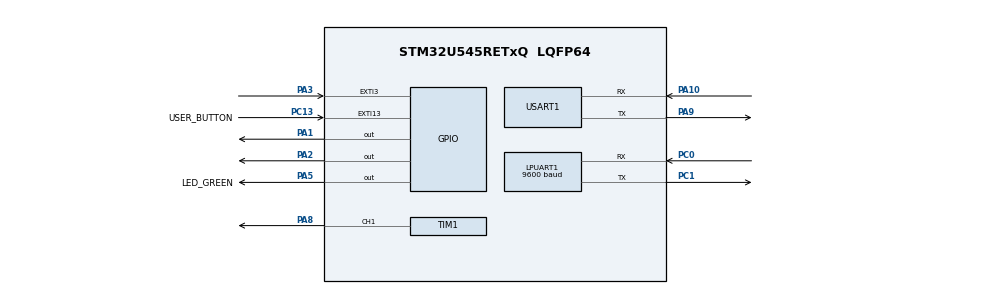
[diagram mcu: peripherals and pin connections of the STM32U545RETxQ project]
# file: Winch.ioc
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CORTEX_M33_NS.userName=CORTEX_M33
LPUART1.BaudRate=9600
Mcu.Family=STM32U5
Mcu.Name=STM32U545RETxQ
Mcu.Package=LQFP64
NVIC.LPUART1_IRQn=true\:0\:0\:false\:false\:true\:true\:true\:true
NVIC.PriorityGroup=NVIC_PRIORITYGROUP_4
NVIC.USART1_IRQn=true\:0\:0\:false\:false\:true\:true\:true\:true
PA1.Signal=GPIO_Output
PA10.Mode=Asynchronous
PA10.Signal=USART1_RX
PA13\ (JTMS/SWDIO).Mode=Serial_Wire
PA13\ (JTMS/SWDIO).Signal=DEBUG_JTMS-SWDIO
PA14\ (JTCK/SWCLK).Mode=Serial_Wire
PA14\ (JTCK/SWCLK).Signal=DEBUG_JTCK-SWCLK
PA2.Signal=GPIO_Output
PA3.GPIO_ModeDefaultEXTI=GPIO_MODE_IT_FALLING
PA3.GPIO_PuPd=GPIO_PULLUP
PA3.Signal=GPXTI3
PA5.GPIO_Label=LED_GREEN
PA5.GPIO_PuPd=GPIO_PULLUP
PA5.GPIO_Speed=GPIO_SPEED_FREQ_HIGH
PA5.Signal=GPIO_Output
PA8.Signal=S_TIM1_CH1
PA9.Mode=Asynchronous
PA9.Signal=USART1_TX
PC0.Mode=Asynchronous
PC0.Signal=LPUART1_RX
PC1.Mode=Asynchronous
PC1.Signal=LPUART1_TX
PC13.GPIO_Label=USER_BUTTON
PC13.GPIO_ModeDefaultEXTI=GPIO_MODE_IT_FALLING
PC13.GPIO_PuPd=GPIO_PULLDOWN
PC13.Signal=GPXTI13
PWR.PowerMode=PWR_LDO_SUPPLY
ProjectManager.HeapSize=0x200
ProjectManager.StackSize=0x400
ProjectManager.TargetToolchain=STM32CubeIDE
RCC.ADCFreq_Value=16000000
RCC.DACCLockSelectionVirtual=RCC_DAC1CLKSOURCE_LSI
RCC.DACCLockSelectionVirtualString=RCC_DAC1CLKSOURCE_LSI
RCC.EPOD_VALUE=4000000
RCC.HSE_VALUE=16000000
RCC.HSI48_VALUE=48000000
RCC.HSI_VALUE=16000000
RCC.LSE_VALUE=32768
RCC.LSIDIV_VALUE=32000
RCC.MSI_VALUE=4000000
RCC.USBFreq_Value=48000000
RCC.VCOOutputFreq_Value=516000000
SH.S_TIM1_CH1.0=TIM1_CH1,PWM Generation1 CH1
TIM1.Channel-PWM\ Generation1\ CH1=TIM_CHANNEL_1
TIM1.PeriodNoDither=19999
TIM1.Prescaler=3
TIM1.PulseNoDither_1=1000
USART1.VirtualMode-Asynchronous=VM_ASYNC
VP_ICACHE_VS_ICACHE.Mode=DirectMappedCache
VP_LPBAMQUEUE_VS_QUEUE.Mode=QUEUEMODE
VP_LPBAM_VS_SIG1.Mode=SmartRun
VP_LPBAM_VS_SIG4.Mode=LPDMA1
VP_MEMORYMAP_VS_MEMORYMAP.Mode=CurAppReg
VP_NUCLEO-U545RE-Q_VS_BSP_COMMON.Mode=COMMON
VP_PWR_VS_LPOM.Mode=PowerOptimisation
VP_PWR_VS_SECSignals.Mode=Security/Privilege
VP_TIM1_VS_ClockSourceINT.Mode=Internal
board=NUCLEO-U545RE-Q

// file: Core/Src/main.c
/* USER CODE BEGIN Header */
/**
 ******************************************************************************
 * @file           : main.c
 * @brief          : Main program body
 ******************************************************************************
 * @attention
 *
 * Copyright (c) 2025 STMicroelectronics.
 * All rights reserved.
 *
 * This software is licensed under terms that can be found in the LICENSE file
 * in the root directory of this software component.
 * If no LICENSE file comes with this software, it is provided AS-IS.
 *
 ******************************************************************************
 */
/* USER CODE END Header */
#include "main.h"

/* USER CODE BEGIN Includes */
#include <string.h>
/* USER CODE END Includes */

/* USER CODE BEGIN PD */
#define RX_BUFFER_SIZE 16
#define PWM_NEUTRAL 1500   // freewheel, no torque
#define PWM_ACCEL_UP 1650
#define PWM_DECEL_DOWN 1450
#define PWM_HOLD 1500
#define PWM_DECEL_UP 1600   // strongest braking / holding torque
#define PWM_ACCEL_DOWN 1400   // strongest braking / holding torque
/* USER CODE END PD */

/* USER CODE BEGIN PM */
typedef enum {
    IDLE,
    DOWN_FREE_FALL,
    DOWN_CONTROL,
	DOWN_CONSTANT,
    DOWN_HOLD,
    PAYLOAD_DROP,
    UP_ACCEL,
    UP_DECEL,
    UP_HOLD
} SystemState;

volatile SystemState current_state = IDLE;

/* USER CODE END PM */

UART_HandleTypeDef hlpuart1;
UART_HandleTypeDef huart1;

TIM_HandleTypeDef htim1;

/* USER CODE BEGIN PV */
uint8_t rx_buffer[RX_BUFFER_SIZE];
uint8_t rx_index = 0;

// ESC PWM range
uint16_t neutral_pwm_us     = 1500;
uint16_t forward_min_pwm_us = 1600;
uint16_t forward_max_pwm_us = 2000;
uint16_t reverse_min_pwm_us = 1400;
uint16_t reverse_max_pwm_us = 1000;

uint16_t global_pwm_us = 1500;  // current PWM signal (neutral)

int accel_steps = 100;
int decel_steps = 100;
uint8_t stopped = 1;
uint8_t direction = 0; // TODO: FIGURE OUT IF THIS IS CW OR CCW
uint8_t should_decel = 0;
uint8_t should_accel = 0;
uint8_t dropping = 0;

uint8_t ch;
uint8_t xb[3];
/* USER CODE END PV */

void SystemClock_Config(void);
static void SystemPower_Config(void);
static void MX_GPIO_Init(void);
static void MX_ICACHE_Init(void);
static void MX_TIM1_Init(void);
static void MX_USART1_UART_Init(void);
static void MX_LPUART1_UART_Init(void);

/* USER CODE BEGIN 0 */
/* === Brushless ESC Control === */
void setThrottle_us(uint16_t us)
{
    if (us < 1000) us = 1000;
    if (us > 2000) us = 2000;
    __HAL_TIM_SET_COMPARE(&htim1, TIM_CHANNEL_1, us);
}

/* Stop motor (neutral) */
void stop_motor(void)
{
	stopped = 1;
    setThrottle_us(1500);
}

/* Accelerate smoothly toward a target throttle (depends on direction) */
void accelerate_to_max(uint8_t direction, uint16_t start_us,
                       uint16_t target_us, int accel_steps)
{
    float pulse = start_us;
    float step_change = ((float)target_us - (float)start_us) / accel_steps;

    stopped = 0;
    for (int i = 0; i < accel_steps; i++) {
        if (stopped) return;  // Abort if stop command issued
        setThrottle_us((uint16_t)pulse);
        HAL_Delay(20); // ~50 Hz update rate
        pulse += step_change;
    }
    global_pwm_us = (uint16_t)pulse;
}

/* Decelerate smoothly toward min speed (depends on direction) */
void decelerate_to_min(uint8_t direction, uint16_t start_us,
                       uint16_t target_us, int decel_steps)
{
    float pulse = start_us;
    float step_change = ((float)target_us - (float)start_us) / decel_steps;

    for (int i = 0; i < decel_steps; i++) {
        if (stopped) return;
        setThrottle_us((uint16_t)pulse);
        HAL_Delay(20);
        pulse += step_change;
    }
    global_pwm_us = (uint16_t)pulse;
}

// No motor torque → gravity pulls the load down freely
void pwm_free_fall() {
    setThrottle_us(PWM_ACCEL_DOWN);
}

// Medium upward torque → brake the descent (slows the fall quickly)
void pwm_descent_brake() {
    setThrottle_us(PWM_DECEL_DOWN);
}

void pwm_ascent_brake() {
    setThrottle_us(PWM_DECEL_UP);
}

// Strong upward torque → hold the payload at a fixed height
void pwm_hold() {
    setThrottle_us(PWM_HOLD);
}

// Very strong upward torque → lift the payload back up
void pwm_up_fast() {
    setThrottle_us(PWM_ACCEL_UP);
}

/* USER CODE END 0 */

int main(void)
{

  /* MCU Configuration--------------------------------------------------------*/

  /* Reset of all peripherals, Initializes the Flash interface and the Systick. */
  HAL_Init();

  /* Configure the System Power */
  SystemPower_Config();

  /* Configure the system clock */
  SystemClock_Config();

  /* Initialize all configured peripherals */
  MX_GPIO_Init();
  MX_ICACHE_Init();
  MX_TIM1_Init();
  MX_USART1_UART_Init();
  MX_LPUART1_UART_Init();
  /* USER CODE BEGIN 2 */
	HAL_TIM_PWM_Start(&htim1, TIM_CHANNEL_1); // Start PWM on PA8 (TIM1_CH1)
	__HAL_TIM_SET_COMPARE(&htim1, TIM_CHANNEL_1, 1500);
	HAL_Delay(2000);  // Wait 2s for ESC to arm
	HAL_TIM_Base_Start(&htim1);
	HAL_UART_Receive_IT(&huart1, &ch, 1);
	HAL_UART_Receive_IT(&hlpuart1, xb, 3);
  /* USER CODE END 2 */

  /* Infinite loop */
  /* USER CODE BEGIN WHILE */
	while (1) {
		switch (current_state) {

			case IDLE:
				stop_motor();
				break;

			case DOWN_FREE_FALL:
				// TODO: open pawl & ratchet
				pwm_free_fall();
				break;

			case DOWN_CONTROL:
				pwm_descent_brake();
				break;

			case PAYLOAD_DROP:
				// TODO: activate servo logic here (close pawl & ratchet + payload drop)
				HAL_Delay(2000);
				// after payload release:
				current_state = UP_ACCEL;
				break;

			case UP_ACCEL:
				pwm_up_fast();  // or ramp via your existing function
				break;

			case UP_DECEL:
				pwm_ascent_brake(); // braking upward = reverse torque
				break;

			case UP_HOLD:
				stop_motor(); // pawl & ratchet will block
				break;
		}

		HAL_Delay(10); // small loop delay

    /* USER CODE END WHILE */

	}
}

void SystemClock_Config(void)
{
  RCC_OscInitTypeDef RCC_OscInitStruct = {0};
  RCC_ClkInitTypeDef RCC_ClkInitStruct = {0};

  /** Configure the main internal regulator output voltage
  */
  if (HAL_PWREx_ControlVoltageScaling(PWR_REGULATOR_VOLTAGE_SCALE4) != HAL_OK)
  {
    Error_Handler();
  }

  /** Initializes the CPU, AHB and APB buses clocks
  */
  RCC_OscInitStruct.OscillatorType = RCC_OSCILLATORTYPE_MSI;
  RCC_OscInitStruct.MSIState = RCC_MSI_ON;
  RCC_OscInitStruct.MSICalibrationValue = RCC_MSICALIBRATION_DEFAULT;
  RCC_OscInitStruct.MSIClockRange = RCC_MSIRANGE_4;
  RCC_OscInitStruct.PLL.PLLState = RCC_PLL_NONE;
  if (HAL_RCC_OscConfig(&RCC_OscInitStruct) != HAL_OK)
  {
    Error_Handler();
  }

  /** Initializes the CPU, AHB and APB buses clocks
  */
  RCC_ClkInitStruct.ClockType = RCC_CLOCKTYPE_HCLK|RCC_CLOCKTYPE_SYSCLK
                              |RCC_CLOCKTYPE_PCLK1|RCC_CLOCKTYPE_PCLK2
                              |RCC_CLOCKTYPE_PCLK3;
  RCC_ClkInitStruct.SYSCLKSource = RCC_SYSCLKSOURCE_MSI;
  RCC_ClkInitStruct.AHBCLKDivider = RCC_SYSCLK_DIV1;
  RCC_ClkInitStruct.APB1CLKDivider = RCC_HCLK_DIV1;
  RCC_ClkInitStruct.APB2CLKDivider = RCC_HCLK_DIV1;
  RCC_ClkInitStruct.APB3CLKDivider = RCC_HCLK_DIV1;

  if (HAL_RCC_ClockConfig(&RCC_ClkInitStruct, FLASH_LATENCY_0) != HAL_OK)
  {
    Error_Handler();
  }
}

/**
  * @brief Power Configuration
  * @retval None
  */
static void SystemPower_Config(void)
{

  /*
   * Switch to SMPS regulator instead of LDO
   */
  if (HAL_PWREx_ConfigSupply(PWR_SMPS_SUPPLY) != HAL_OK)
  {
    Error_Handler();
  }
}

static void MX_ICACHE_Init(void)
{

  /** Enable instruction cache in 1-way (direct mapped cache)
  */
  if (HAL_ICACHE_ConfigAssociativityMode(ICACHE_1WAY) != HAL_OK)
  {
    Error_Handler();
  }
  if (HAL_ICACHE_Enable() != HAL_OK)
  {
    Error_Handler();
  }

}

static void MX_LPUART1_UART_Init(void)
{

  hlpuart1.Instance = LPUART1;
  hlpuart1.Init.BaudRate = 9600;
  hlpuart1.Init.WordLength = UART_WORDLENGTH_8B;
  hlpuart1.Init.StopBits = UART_STOPBITS_1;
  hlpuart1.Init.Parity = UART_PARITY_NONE;
  hlpuart1.Init.Mode = UART_MODE_TX_RX;
  hlpuart1.Init.HwFlowCtl = UART_HWCONTROL_NONE;
  hlpuart1.Init.OneBitSampling = UART_ONE_BIT_SAMPLE_DISABLE;
  hlpuart1.AdvancedInit.AdvFeatureInit = UART_ADVFEATURE_NO_INIT;
  hlpuart1.FifoMode = UART_FIFOMODE_DISABLE;
  if (HAL_UART_Init(&hlpuart1) != HAL_OK)
  {
    Error_Handler();
  }
  if (HAL_UARTEx_SetTxFifoThreshold(&hlpuart1, UART_TXFIFO_THRESHOLD_1_8) != HAL_OK)
  {
    Error_Handler();
  }
  if (HAL_UARTEx_SetRxFifoThreshold(&hlpuart1, UART_RXFIFO_THRESHOLD_1_8) != HAL_OK)
  {
    Error_Handler();
  }
  if (HAL_UARTEx_DisableFifoMode(&hlpuart1) != HAL_OK)
  {
    Error_Handler();
  }

}

static void MX_USART1_UART_Init(void)
{

  huart1.Instance = USART1;
  huart1.Init.BaudRate = 115200;
  huart1.Init.WordLength = UART_WORDLENGTH_8B;
  huart1.Init.StopBits = UART_STOPBITS_1;
  huart1.Init.Parity = UART_PARITY_NONE;
  huart1.Init.Mode = UART_MODE_TX_RX;
  huart1.Init.HwFlowCtl = UART_HWCONTROL_NONE;
  huart1.Init.OverSampling = UART_OVERSAMPLING_16;
  huart1.Init.OneBitSampling = UART_ONE_BIT_SAMPLE_DISABLE;
  huart1.Init.ClockPrescaler = UART_PRESCALER_DIV1;
  huart1.AdvancedInit.AdvFeatureInit = UART_ADVFEATURE_NO_INIT;
  if (HAL_UART_Init(&huart1) != HAL_OK)
  {
    Error_Handler();
  }
  if (HAL_UARTEx_SetTxFifoThreshold(&huart1, UART_TXFIFO_THRESHOLD_1_8) != HAL_OK)
  {
    Error_Handler();
  }
  if (HAL_UARTEx_SetRxFifoThreshold(&huart1, UART_RXFIFO_THRESHOLD_1_8) != HAL_OK)
  {
    Error_Handler();
  }
  if (HAL_UARTEx_DisableFifoMode(&huart1) != HAL_OK)
  {
    Error_Handler();
  }

}

static void MX_TIM1_Init(void)
{

  TIM_ClockConfigTypeDef sClockSourceConfig = {0};
  TIM_MasterConfigTypeDef sMasterConfig = {0};
  TIM_OC_InitTypeDef sConfigOC = {0};
  TIM_BreakDeadTimeConfigTypeDef sBreakDeadTimeConfig = {0};

  htim1.Instance = TIM1;
  htim1.Init.Prescaler = 3;
  htim1.Init.CounterMode = TIM_COUNTERMODE_UP;
  htim1.Init.Period = 19999;
  htim1.Init.ClockDivision = TIM_CLOCKDIVISION_DIV1;
  htim1.Init.RepetitionCounter = 0;
  htim1.Init.AutoReloadPreload = TIM_AUTORELOAD_PRELOAD_DISABLE;
  if (HAL_TIM_Base_Init(&htim1) != HAL_OK)
  {
    Error_Handler();
  }
  sClockSourceConfig.ClockSource = TIM_CLOCKSOURCE_INTERNAL;
  if (HAL_TIM_ConfigClockSource(&htim1, &sClockSourceConfig) != HAL_OK)
  {
    Error_Handler();
  }
  if (HAL_TIM_PWM_Init(&htim1) != HAL_OK)
  {
    Error_Handler();
  }
  sMasterConfig.MasterOutputTrigger = TIM_TRGO_RESET;
  sMasterConfig.MasterOutputTrigger2 = TIM_TRGO2_RESET;
  sMasterConfig.MasterSlaveMode = TIM_MASTERSLAVEMODE_DISABLE;
  if (HAL_TIMEx_MasterConfigSynchronization(&htim1, &sMasterConfig) != HAL_OK)
  {
    Error_Handler();
  }
  sConfigOC.OCMode = TIM_OCMODE_PWM1;
  sConfigOC.Pulse = 1000;
  sConfigOC.OCPolarity = TIM_OCPOLARITY_HIGH;
  sConfigOC.OCNPolarity = TIM_OCNPOLARITY_HIGH;
  sConfigOC.OCFastMode = TIM_OCFAST_DISABLE;
  sConfigOC.OCIdleState = TIM_OCIDLESTATE_RESET;
  sConfigOC.OCNIdleState = TIM_OCNIDLESTATE_RESET;
  if (HAL_TIM_PWM_ConfigChannel(&htim1, &sConfigOC, TIM_CHANNEL_1) != HAL_OK)
  {
    Error_Handler();
  }
  sBreakDeadTimeConfig.OffStateRunMode = TIM_OSSR_DISABLE;
  sBreakDeadTimeConfig.OffStateIDLEMode = TIM_OSSI_DISABLE;
  sBreakDeadTimeConfig.LockLevel = TIM_LOCKLEVEL_OFF;
  sBreakDeadTimeConfig.DeadTime = 0;
  sBreakDeadTimeConfig.BreakState = TIM_BREAK_DISABLE;
  sBreakDeadTimeConfig.BreakPolarity = TIM_BREAKPOLARITY_HIGH;
  sBreakDeadTimeConfig.BreakFilter = 0;
  sBreakDeadTimeConfig.BreakAFMode = TIM_BREAK_AFMODE_INPUT;
  sBreakDeadTimeConfig.Break2State = TIM_BREAK2_DISABLE;
  sBreakDeadTimeConfig.Break2Polarity = TIM_BREAK2POLARITY_HIGH;
  sBreakDeadTimeConfig.Break2Filter = 0;
  sBreakDeadTimeConfig.Break2AFMode = TIM_BREAK_AFMODE_INPUT;
  sBreakDeadTimeConfig.AutomaticOutput = TIM_AUTOMATICOUTPUT_DISABLE;
  if (HAL_TIMEx_ConfigBreakDeadTime(&htim1, &sBreakDeadTimeConfig) != HAL_OK)
  {
    Error_Handler();
  }
  HAL_TIM_MspPostInit(&htim1);

}

static void MX_GPIO_Init(void)
{
  GPIO_InitTypeDef GPIO_InitStruct = {0};

  /* GPIO Ports Clock Enable */
  __HAL_RCC_GPIOC_CLK_ENABLE();
  __HAL_RCC_GPIOA_CLK_ENABLE();

  /*Configure GPIO pin Output Level */
  HAL_GPIO_WritePin(GPIOA, GPIO_PIN_1|GPIO_PIN_2|LED_GREEN_Pin, GPIO_PIN_RESET);

  /*Configure GPIO pin : USER_BUTTON_Pin */
  GPIO_InitStruct.Pin = USER_BUTTON_Pin;
  GPIO_InitStruct.Mode = GPIO_MODE_IT_FALLING;
  GPIO_InitStruct.Pull = GPIO_PULLDOWN;
  HAL_GPIO_Init(USER_BUTTON_GPIO_Port, &GPIO_InitStruct);

  /*Configure GPIO pins : PA1 PA2 */
  GPIO_InitStruct.Pin = GPIO_PIN_1|GPIO_PIN_2;
  GPIO_InitStruct.Mode = GPIO_MODE_OUTPUT_PP;
  GPIO_InitStruct.Pull = GPIO_NOPULL;
  GPIO_InitStruct.Speed = GPIO_SPEED_FREQ_LOW;
  HAL_GPIO_Init(GPIOA, &GPIO_InitStruct);

  /*Configure GPIO pin : PA3 */
  GPIO_InitStruct.Pin = GPIO_PIN_3;
  GPIO_InitStruct.Mode = GPIO_MODE_IT_FALLING;
  GPIO_InitStruct.Pull = GPIO_PULLUP;
  HAL_GPIO_Init(GPIOA, &GPIO_InitStruct);

  /*Configure GPIO pin : LED_GREEN_Pin */
  GPIO_InitStruct.Pin = LED_GREEN_Pin;
  GPIO_InitStruct.Mode = GPIO_MODE_OUTPUT_PP;
  GPIO_InitStruct.Pull = GPIO_PULLUP;
  GPIO_InitStruct.Speed = GPIO_SPEED_FREQ_HIGH;
  HAL_GPIO_Init(LED_GREEN_GPIO_Port, &GPIO_InitStruct);

}

/* USER CODE BEGIN 4 */
void HAL_UART_RxCpltCallback(UART_HandleTypeDef *huart) {
	if (huart->Instance == USART1) {

		if (ch == 'G') {
			current_state = DOWN_FREE_FALL;
		}
		else if (ch == 'S') {
			stop_motor();
			current_state = UP_HOLD;   // safest orientation
		}

		HAL_UART_Receive_IT(&huart1, &ch, 1);
		return;
	} else if (huart->Instance == LPUART1) {
		char sensor = xb[0];
		    uint16_t dist = (xb[1] << 8) | xb[2];

		    switch (current_state) {

		        // ---------------- DOWNWARD STATES ----------------

		        case DOWN_FREE_FALL:
		            if (sensor == 'A' && dist < 4000) {
		                current_state = DOWN_CONTROL;   // start braking
		            }
		            break;

		        case DOWN_CONTROL:
		            if (sensor == 'A' && dist < 500) {
		                current_state = PAYLOAD_DROP;      // we've reached ground
		            }
		            break;

		        // ---------------- UPWARD STATES ----------------

		        case UP_ACCEL:
		            if (sensor == 'B' && dist < 4000) {
		                current_state = UP_DECEL;
		            }
		            break;

		        case UP_DECEL:
		            if (sensor == 'B' && dist < 500) {
		                current_state = UP_HOLD;
		            }
		            break;

		        default:
		            break;
		    }
		HAL_UART_Receive_IT(&hlpuart1, xb, 3);
	}
}

void HAL_GPIO_EXTI_Callback(uint16_t GPIO_Pin)
{
  if(GPIO_Pin == GPIO_PIN_3)
  {
	  current_state = UP_HOLD;
  }
}
/* USER CODE END 4 */

void Error_Handler(void)
{
	__disable_irq();
	while (1) {
	}
}
